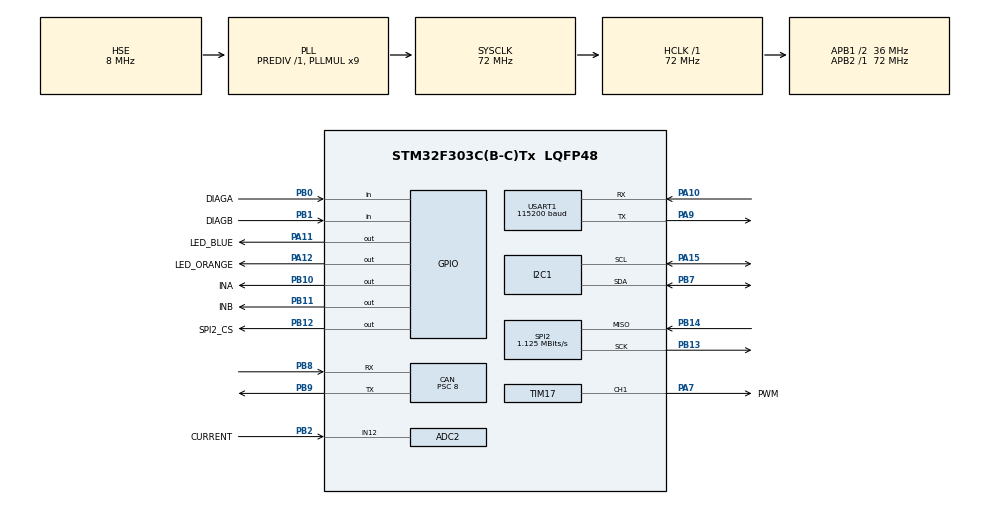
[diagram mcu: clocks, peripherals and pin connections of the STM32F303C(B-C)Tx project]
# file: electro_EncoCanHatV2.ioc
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ADC2.Channel-0\#ChannelRegularConversion=ADC_CHANNEL_12
ADC2.ContinuousConvMode=DISABLE
ADC2.DMAContinuousRequests=DISABLE
ADC2.DataAlign=ADC_DATAALIGN_RIGHT
ADC2.NbrOfConversion=1
ADC2.NbrOfConversionFlag=1
ADC2.Offset-0\#ChannelRegularConversion=0
ADC2.OffsetNumber-0\#ChannelRegularConversion=ADC_OFFSET_NONE
ADC2.Rank-0\#ChannelRegularConversion=1
ADC2.SamplingTime-0\#ChannelRegularConversion=ADC_SAMPLETIME_1CYCLE_5
CAN.BS1=CAN_BS1_3TQ
CAN.BS2=CAN_BS2_5TQ
CAN.CalculateBaudRate=500000
CAN.CalculateTimeBit=2000
CAN.CalculateTimeQuantum=222.22222222222223
CAN.Mode=CAN_MODE_NORMAL
CAN.NART=DISABLE
CAN.Prescaler=8
Mcu.Family=STM32F3
Mcu.Name=STM32F303C(B-C)Tx
Mcu.Package=LQFP48
NVIC.PriorityGroup=NVIC_PRIORITYGROUP_4
NVIC.TIM2_IRQn=true\:0\:0\:false\:false\:true\:true\:true\:true
NVIC.USB_LP_CAN_RX0_IRQn=true\:0\:0\:false\:false\:true\:true\:true\:true
PA10.Mode=Asynchronous
PA10.Signal=USART1_RX
PA11.GPIO_Label=LED_BLUE
PA11.Signal=GPIO_Output
PA12.GPIO_Label=LED_ORANGE
PA12.Signal=GPIO_Output
PA13.Mode=Serial_Wire
PA13.Signal=SYS_JTMS-SWDIO
PA14.Mode=Serial_Wire
PA14.Signal=SYS_JTCK-SWCLK
PA15.Mode=I2C
PA15.Signal=I2C1_SCL
PA7.GPIO_Label=PWM
PA7.Signal=S_TIM17_CH1
PA9.Mode=Asynchronous
PA9.Signal=USART1_TX
PB0.GPIO_Label=DIAGA
PB0.GPIO_PuPd=GPIO_PULLUP
PB0.Signal=GPIO_Input
PB1.GPIO_Label=DIAGB
PB1.GPIO_PuPd=GPIO_PULLUP
PB1.Signal=GPIO_Input
PB10.GPIO_Label=INA
PB10.Signal=GPIO_Output
PB11.GPIO_Label=INB
PB11.Signal=GPIO_Output
PB12.GPIO_Label=SPI2_CS
PB12.Signal=GPIO_Output
PB13.Mode=RX_Only_Simplex_Unidirect_Master
PB13.Signal=SPI2_SCK
PB14.Mode=RX_Only_Simplex_Unidirect_Master
PB14.Signal=SPI2_MISO
PB2.GPIO_Label=CURRENT
PB2.Mode=IN12-Single-Ended
PB2.Signal=ADC2_IN12
PB7.Mode=I2C
PB7.Signal=I2C1_SDA
PB8.Mode=CAN_Activate
PB8.Signal=CAN_RX
PB9.Mode=CAN_Activate
PB9.Signal=CAN_TX
PF0-OSC_IN.Mode=HSE-External-Oscillator
PF0-OSC_IN.Signal=RCC_OSC_IN
PF1-OSC_OUT.Mode=HSE-External-Oscillator
PF1-OSC_OUT.Signal=RCC_OSC_OUT
ProjectManager.HeapSize=0x200
ProjectManager.StackSize=0x400
ProjectManager.TargetToolchain=STM32CubeIDE
RCC.AHBFreq_Value=72000000
RCC.APB1CLKDivider=RCC_HCLK_DIV2
RCC.APB1Freq_Value=36000000
RCC.APB1TimFreq_Value=72000000
RCC.APB2Freq_Value=72000000
RCC.APB2TimFreq_Value=72000000
RCC.CortexFreq_Value=72000000
RCC.EnbaleCSS=true
RCC.HCLKFreq_Value=72000000
RCC.HSE_VALUE=8000000
RCC.HSI_VALUE=8000000
RCC.LSE_VALUE=32768
RCC.PLLMUL=RCC_PLL_MUL9
RCC.PLLSourceVirtual=RCC_PLLSOURCE_HSE
RCC.SYSCLKFreq_VALUE=72000000
RCC.SYSCLKSourceVirtual=RCC_SYSCLKSOURCE_PLLCLK
RCC.USBFreq_Value=72000000
SH.S_TIM17_CH1.0=TIM17_CH1,PWM Generation1 CH1
SPI2.BaudRatePrescaler=SPI_BAUDRATEPRESCALER_32
SPI2.CLKPhase=SPI_PHASE_1EDGE
SPI2.CLKPolarity=SPI_POLARITY_LOW
SPI2.CRCCalculation=SPI_CRCCALCULATION_DISABLE
SPI2.CalculateBaudRate=1.125 MBits/s
SPI2.DataSize=SPI_DATASIZE_8BIT
SPI2.Direction=SPI_DIRECTION_2LINES_RXONLY
SPI2.Mode=SPI_MODE_MASTER
SPI2.VirtualType=VM_MASTER
TIM17.Channel=TIM_CHANNEL_1
TIM2.Period=3600000
TIM2.Prescaler=1
USART1.BaudRate=115200
USART1.VirtualMode-Asynchronous=VM_ASYNC
VP_TIM17_VS_ClockSourceINT.Mode=Enable_Timer
VP_TIM2_VS_ClockSourceINT.Mode=Internal
board=custom

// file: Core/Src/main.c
/* USER CODE BEGIN Header */
/**
 ******************************************************************************
 * @file           : main.c
 * @brief          : Main program body
 ******************************************************************************
 * @attention
 *
 * Copyright (c) 2022 STMicroelectronics.
 * All rights reserved.
 *
 * This software is licensed under terms that can be found in the LICENSE file
 * in the root directory of this software component.
 * If no LICENSE file comes with this software, it is provided AS-IS.
 *
 ******************************************************************************
 */
/* USER CODE END Header */
#include "main.h"
#include "adc.h"
#include "can.h"
#include "i2c.h"
#include "spi.h"
#include "tim.h"
#include "usart.h"
#include "gpio.h"

void SystemClock_Config(void);

int main(void)
{

  /* MCU Configuration--------------------------------------------------------*/

  /* Reset of all peripherals, Initializes the Flash interface and the Systick. */
  HAL_Init();

  /* Configure the system clock */
  SystemClock_Config();

  /* Initialize all configured peripherals */
  MX_GPIO_Init();
  MX_ADC2_Init();
  MX_CAN_Init();
  MX_I2C1_Init();
  MX_SPI2_Init();
  MX_TIM2_Init();
  MX_TIM17_Init();
  MX_USART1_UART_Init();
  /* USER CODE BEGIN 2 */
 // HAL_TIM_PWM_Start(&htim17, TIM_CHANNEL_1);
  HAL_ADC_Start(&hadc2);
  HAL_GPIO_TogglePin(LED_BLUE_GPIO_Port, LED_BLUE_Pin);
  if (EEPROM_read() == 0) {
    globalCANID = settings.ID;
  }
  MX_CAN_Init();

  /* USER CODE END 2 */

  /* Infinite loop */
  /* USER CODE BEGIN WHILE */
  int writeData = 0;
  int readData = 0;
  int resultRead = -1;
  int resultWrite = -1;

  initialized = 1;
  uint8_t motor_on_cmd[] = {0x3E, 0x88, 0x01, 0x00, 0xC6};  // Dla ID=1
  HAL_UART_Transmit(&huart1, motor_on_cmd, 5, HAL_MAX_DELAY);
  // CANTimeoutTimer = 5000;
  // MOTOR_Set_Position(goal);
  // workingMode = 1;
  while (1) {
    // printf("Test\n");
    if (writeData) {
      resultWrite = EEPROM_write();
      writeData = 0;
    }
    if (readData) {
      resultRead = EEPROM_read();
      readData = 0;
    }
    if (eepromModified) {
      EEPROM_write();
      eepromModified = 0;
    }

    // CANTimeoutTimer = 50;

    // CAN_Transmit();
    // MOTOR_Start_Forward(1);
    //		int raw = ADC_Read();
    //		raw = raw;
    // HAL_Delay(2000);
    // MOTOR_Start_Backward(0.1);
    // HAL_Delay(2000);
    //		HAL_Delay(ADC_Read()/100);

    /* USER CODE END WHILE */

  }
}

void SystemClock_Config(void)
{
  RCC_OscInitTypeDef RCC_OscInitStruct = {0};
  RCC_ClkInitTypeDef RCC_ClkInitStruct = {0};
  RCC_PeriphCLKInitTypeDef PeriphClkInit = {0};

  /** Initializes the RCC Oscillators according to the specified parameters
  * in the RCC_OscInitTypeDef structure.
  */
  RCC_OscInitStruct.OscillatorType = RCC_OSCILLATORTYPE_HSI|RCC_OSCILLATORTYPE_HSE;
  RCC_OscInitStruct.HSEState = RCC_HSE_ON;
  RCC_OscInitStruct.HSEPredivValue = RCC_HSE_PREDIV_DIV1;
  RCC_OscInitStruct.HSIState = RCC_HSI_ON;
  RCC_OscInitStruct.HSICalibrationValue = RCC_HSICALIBRATION_DEFAULT;
  RCC_OscInitStruct.PLL.PLLState = RCC_PLL_ON;
  RCC_OscInitStruct.PLL.PLLSource = RCC_PLLSOURCE_HSE;
  RCC_OscInitStruct.PLL.PLLMUL = RCC_PLL_MUL9;
  if (HAL_RCC_OscConfig(&RCC_OscInitStruct) != HAL_OK)
  {
    Error_Handler();
  }

  /** Initializes the CPU, AHB and APB buses clocks
  */
  RCC_ClkInitStruct.ClockType = RCC_CLOCKTYPE_HCLK|RCC_CLOCKTYPE_SYSCLK
                              |RCC_CLOCKTYPE_PCLK1|RCC_CLOCKTYPE_PCLK2;
  RCC_ClkInitStruct.SYSCLKSource = RCC_SYSCLKSOURCE_PLLCLK;
  RCC_ClkInitStruct.AHBCLKDivider = RCC_SYSCLK_DIV1;
  RCC_ClkInitStruct.APB1CLKDivider = RCC_HCLK_DIV2;
  RCC_ClkInitStruct.APB2CLKDivider = RCC_HCLK_DIV1;

  if (HAL_RCC_ClockConfig(&RCC_ClkInitStruct, FLASH_LATENCY_2) != HAL_OK)
  {
    Error_Handler();
  }
  PeriphClkInit.PeriphClockSelection = RCC_PERIPHCLK_USART1|RCC_PERIPHCLK_I2C1
                              |RCC_PERIPHCLK_ADC12;
  PeriphClkInit.Usart1ClockSelection = RCC_USART1CLKSOURCE_PCLK2;
  PeriphClkInit.Adc12ClockSelection = RCC_ADC12PLLCLK_DIV1;
  PeriphClkInit.I2c1ClockSelection = RCC_I2C1CLKSOURCE_HSI;
  if (HAL_RCCEx_PeriphCLKConfig(&PeriphClkInit) != HAL_OK)
  {
    Error_Handler();
  }

  /** Enables the Clock Security System
  */
  HAL_RCC_EnableCSS();
}

void Error_Handler(void)
{
  __disable_irq();
  while (1) {
  }
}
